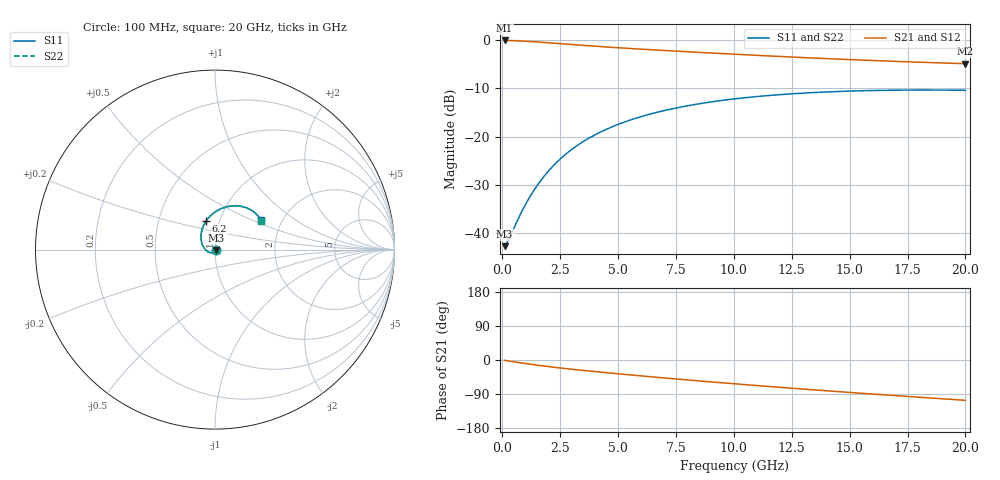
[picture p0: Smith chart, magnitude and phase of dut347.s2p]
! Touchstone file exported from HFSS 2024.1.0
!  File:  C:/UserFiles/LocalFiles/RDL_TSV_Batchsim/temp_RDL_TSV_347_1779636785.aedt
!  Generated:  11:48:43 PM May 24, 2026
!  Design:  RDL_TSV
!  Project:  temp_RDL_TSV_347_1779636785
!  Setup:  Setup1
!  Solution:  Sweep
! Variables:
!  dtsv = 9.24um
!  hbump = 3um
!  htsv = 56.49um
!  ldown = 244.01um
!  lrdl = 177.54um
!  p = 40
!  p1 = 43.16um
!  rhole = 10um
!  subl = 1442.19um
!  t = 450um
!  tdown = 2.79um
!  trdl = 3.96um
!  viad = 10um
!  wdown = 27.32um
!  wrdl = 23.4um
!  xbump = 18um
# GHz S MA R 50.000000
! Terminal data exported
! Port[1] = TM1_1_T1
! Port[2] = TM1_4_T1
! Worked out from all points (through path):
!   200 points, 100 MHz to 20 GHz, reference 50 ohm
!   highest |S21| = -0.07 dB at 100 MHz (marker M1); lowest = -4.9 dB at 20 GHz (marker M2)
!   group delay of S21, straight-line fit = 14 ps
!   lowest |S11| = -42.7 dB at 100 MHz (marker M3), VSWR 1.01, Z = 50.7 - j0.19 ohm
!   |S11| at or under -10 dB: start of sweep to end of sweep
!   |S22| runs from -42.7 to -10.3 dB; largest |S21 - S12| = 1.1e-14
!   S11 on the Smith chart (normalised r, x): 100 MHz: 1.01, -0.00; 6.2 GHz: 0.86, +0.28; 20 GHz: 1.56, +0.56
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0.1  0.007343 -14.8  0.9925 -1.0  0.9925 -1.0  0.007344 -14.8
! Gamma 0 0 0 0
! Port Impedance 50 0 50 0
0.2  0.007964 -29.7  0.9916 -2.0  0.9916 -2.0  0.007964 -29.7
0.3  0.008873 -44.1  0.9903 -2.9  0.9903 -2.9  0.008874 -44.1
0.7  0.01434 -90.6  0.9826 -6.6  0.9826 -6.6  0.01434 -90.6
1  0.01984 -115.4  0.9744 -9.3  0.9744 -9.3  0.01984 -115.4
1.3  0.02629 -134.9  0.9645 -11.9  0.9645 -11.9  0.02629 -134.9
1.7  0.03614 -155.5  0.9496 -15.1  0.9496 -15.1  0.03613 -155.5
2.1  0.04706 -172.0  0.9337 -18.2  0.9337 -18.2  0.04704 -172.0
2.5  0.0587 174.4  0.9179 -21.0  0.9179 -21.0  0.05868 174.4
3  0.07382 160.3  0.8988 -24.4  0.8988 -24.4  0.07379 160.3
3.5  0.08917 148.6  0.8808 -27.6  0.8808 -27.6  0.08913 148.6
4.1  0.1075 136.8  0.8608 -31.2  0.8608 -31.2  0.1074 136.8
4.7  0.1253 126.9  0.8424 -34.7  0.8424 -34.7  0.1252 126.9
5.4  0.1453 117.0  0.8225 -38.7  0.8225 -38.7  0.1452 117.0
6.2  0.1667 107.4  0.8013 -43.1  0.8013 -43.1  0.1666 107.4
6.8  0.1818 101.0  0.7863 -46.4  0.7863 -46.4  0.1817 101.0
8.3  0.2152 87.5  0.7513 -54.2  0.7513 -54.2  0.2151 87.5
10.1  0.2475 74.5  0.7131 -63.2  0.7131 -63.2  0.2473 74.5
11.7  0.2694 65.0  0.6824 -70.8  0.6824 -70.8  0.2692 64.9
13.4  0.2861 56.3  0.653 -78.6  0.653 -78.6  0.2859 56.3
16.7  0.3027 42.7  0.6058 -92.8  0.6058 -92.8  0.3024 42.7
20  0.3024 32.5  0.5707 -106.4  0.5707 -106.4  0.302 32.4
